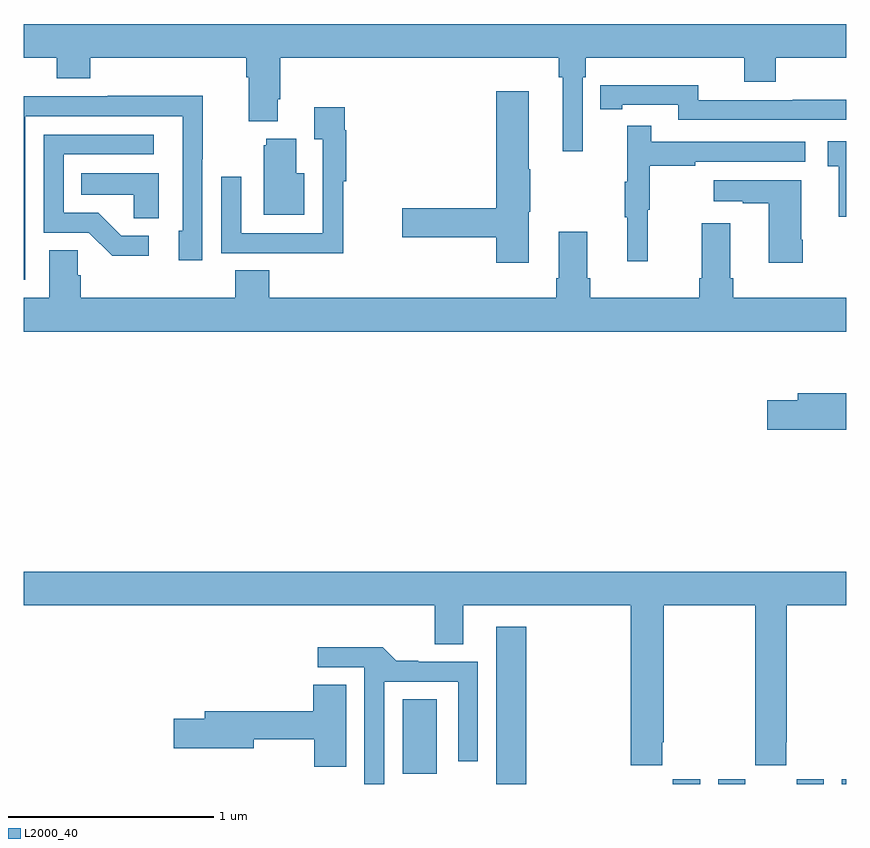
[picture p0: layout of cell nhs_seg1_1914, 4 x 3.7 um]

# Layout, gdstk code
import gdstk
lib = gdstk.Library(unit=1e-6, precision=1e-09)
def R(c, l, rs):  # rectangles x0, y0, x1, y1
    for r in rs: c.add(gdstk.rectangle(r[:2], r[2:], *l))
def P(c, l, *ps):  # polygons
    for p in ps: c.add(gdstk.Polygon(p, *l))
L2000_40 = (2000, 40)

nhs_seg1_1914 = lib.new_cell('nhs_seg1_1914')
R(nhs_seg1_1914, L2000_40, [(217.298,548.199,217.445,548.965), (218.156,548.199,218.29,548.221), (218.378,548.199,218.508,548.221), (218.76,548.199,218.89,548.221), (218.978,548.199,219,548.221), (216.842,548.25,217.009,548.612)])
P(nhs_seg1_1914, L2000_40, [(215,551.732),(215.159,551.732),(215.159,551.633),(215.324,551.633),(215.324,551.732),(216.083,551.732),(216.083,551.636),(216.095,551.636),(216.095,551.423),(216.235,551.423),(216.235,551.53),(216.248,551.53),(216.248,551.732),(217.603,551.732),(217.603,551.636),(217.622,551.636),(217.622,551.277),(217.719,551.277),(217.719,551.636),(217.733,551.636),(217.733,551.732),(218.504,551.732),(218.504,551.615),(218.657,551.615),(218.657,551.732),(219,551.732),(219,551.896),(215,551.896)],
  [(219,551.528),(218.74,551.528),(218.74,551.526),(218.28,551.526),(218.28,551.599),(217.912,551.599),(217.912,551.598),(217.804,551.598),(217.804,551.482),(217.912,551.482),(217.912,551.502),(218.184,551.502),(218.184,551.43),(219,551.43)],
  [(217.456,550.983),(217.464,550.983),(217.464,551.189),(217.456,551.189),(217.456,551.569),(217.298,551.569),(217.298,551),(216.84,551),(216.84,550.858),(217.298,550.858),(217.298,550.734),(217.456,550.734)],
  [(215.007,551.448),(215.772,551.448),(215.772,550.89),(215.753,550.89),(215.753,550.746),(215.868,550.746),(215.868,551.239),(215.871,551.239),(215.871,551.546),(215.407,551.546),(215.407,551.544),(215,551.544),(215,550.653),(215.007,550.653)],
  [(216.554,551.132),(216.569,551.132),(216.569,551.378),(216.562,551.378),(216.562,551.491),(216.413,551.491),(216.413,551.335),(216.453,551.335),(216.453,550.878),(216.057,550.878),(216.057,551.152),(215.961,551.152),(215.961,550.782),(216.277,550.782),(216.277,550.781),(216.554,550.781)],
  [(218.036,550.992),(218.044,550.992),(218.044,551.206),(218.267,551.206),(218.267,551.226),(218.8,551.226),(218.8,551.322),(218.051,551.322),(218.051,551.401),(217.934,551.401),(217.934,551.129),(217.923,551.129),(217.923,550.955),(217.934,550.955),(217.934,550.743),(218.036,550.743)],
  [(215.608,550.866),(215.473,550.866),(215.362,550.977),(215.193,550.977),(215.193,551.262),(215.632,551.262),(215.632,551.358),(215.097,551.358),(215.097,550.881),(215.316,550.881),(215.429,550.769),(215.608,550.769)],
  [(216.364,551.17),(216.325,551.17),(216.325,551.338),(216.179,551.338),(216.179,551.307),(216.167,551.307),(216.167,550.967),(216.364,550.967)],
  [(219,551.326),(218.91,551.326),(218.91,551.205),(218.963,551.205),(218.963,550.959),(219,550.959)],
  [(215.656,551.17),(215.278,551.17),(215.278,551.066),(215.535,551.066),(215.535,550.951),(215.656,550.951)],
  [(218.79,550.846),(218.782,550.846),(218.782,551.137),(218.355,551.137),(218.355,551.033),(218.498,551.033),(218.498,551.023),(218.624,551.023),(218.624,550.734),(218.79,550.734)],
  [(219,550.564),(218.45,550.564),(218.45,550.66),(218.437,550.66),(218.437,550.927),(218.297,550.927),(218.297,550.66),(218.285,550.66),(218.285,550.564),(217.754,550.564),(217.754,550.66),(217.741,550.66),(217.741,550.885),(217.601,550.885),(217.601,550.66),(217.589,550.66),(217.589,550.564),(216.194,550.564),(216.194,550.697),(216.029,550.697),(216.029,550.564),(215.276,550.564),(215.276,550.673),(215.262,550.673),(215.262,550.796),(215.123,550.796),(215.123,550.564),(215,550.564),(215,550.4),(219,550.4)],
  [(219,550.099),(218.765,550.099),(218.765,550.065),(218.616,550.065),(218.616,549.923),(219,549.923)],
  [(218.105,548.401),(218.112,548.401),(218.112,549.068),(218.557,549.068),(218.557,548.401),(218.559,548.401),(218.559,548.289),(218.709,548.289),(218.709,548.401),(218.712,548.401),(218.712,549.068),(219,549.068),(219,549.232),(215,549.232),(215,549.068),(216.998,549.068),(216.998,548.878),(217.138,548.878),(217.138,549.068),(217.952,549.068),(217.952,548.289),(218.105,548.289)],
  [(216.753,548.697),(217.113,548.697),(217.113,548.31),(217.209,548.31),(217.209,548.793),(216.919,548.793),(216.919,548.798),(216.811,548.798),(216.746,548.864),(216.429,548.864),(216.429,548.766),(216.657,548.766),(216.657,548.199),(216.753,548.199)],
  [(216.568,548.681),(216.407,548.681),(216.407,548.552),(215.879,548.552),(215.879,548.516),(215.73,548.516),(215.73,548.374),(216.118,548.374),(216.118,548.416),(216.412,548.416),(216.412,548.283),(216.568,548.283)])

lib.write_gds('nhs_seg1_1914.gds')
